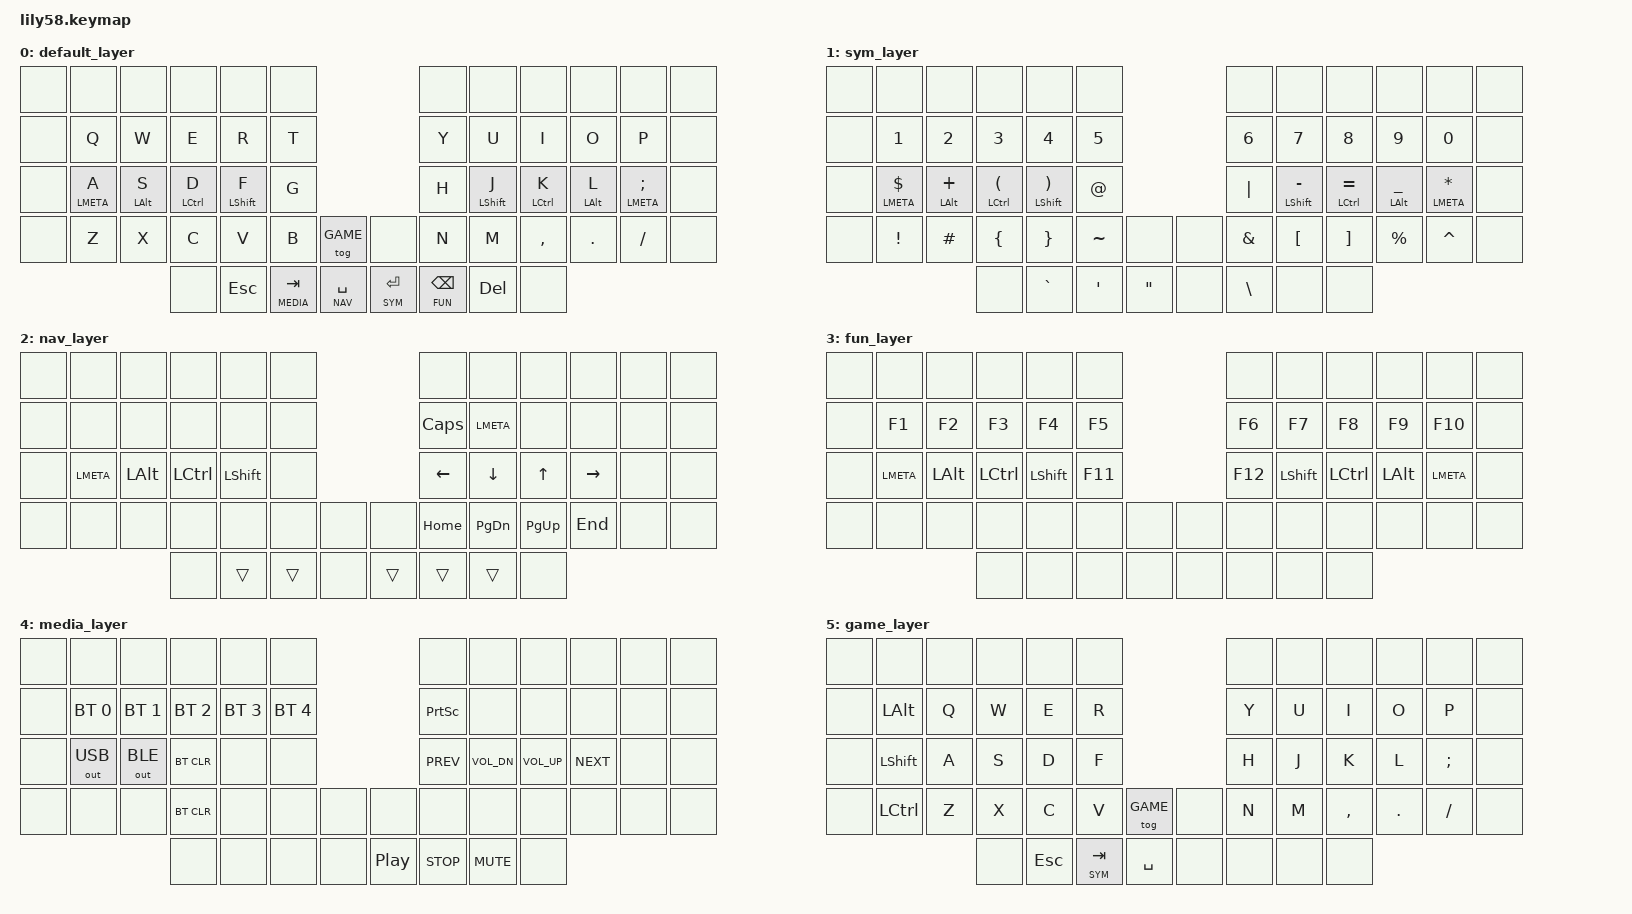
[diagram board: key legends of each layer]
/*
 * Copyright (c) 2020 The ZMK Contributors
 *
 * SPDX-License-Identifier: MIT
 */

#include <behaviors.dtsi>
#include <dt-bindings/zmk/keys.h>
#include <dt-bindings/zmk/bt.h>
#include <dt-bindings/zmk/ext_power.h>
#include <dt-bindings/zmk/outputs.h>

#define DEFAULT 0
#define SYM 1
#define NAV 2
#define FUN 3
#define MEDIA 4
#define GAME 5

&lt {
    flavor = "balanced";
    quick-tap-ms = <100>;
    tapping-term-ms = <200>;
    retro-tap;
};

/ {
    behaviors {
        hml: homerow_mods_long {
            compatible = "zmk,behavior-hold-tap";
            label = "HOMEROW_MODS";
            #binding-cells = <2>;
            tapping-term-ms = <300>;
            quick-tap-ms = <0>;
            flavor = "tap-preferred";
            bindings = <&kp>, <&kp>;
        };
        hms: homerow_mods_short {
            compatible = "zmk,behavior-hold-tap";
            label = "HOMEROW_MODS";
            #binding-cells = <2>;
            tapping-term-ms = <100>;
            quick-tap-ms = <0>;
            flavor = "tap-preferred";
            bindings = <&kp>, <&kp>;
        };
        hm: homerow_mods {
            compatible = "zmk,behavior-hold-tap";
            label = "HOMEROW_MODS";
            #binding-cells = <2>;
            tapping-term-ms = <150>;
            quick-tap-ms = <0>;
            flavor = "tap-preferred";
            bindings = <&kp>, <&kp>;
        };
    };
    combos {
        compatible = "zmk,combos";
        combo_t {
            timeout-ms = <50>;
            key-positions = <16 17>;
            bindings = <&kp T>;
            layers = <GAME>;
        };
        combo_g {
            timeout-ms = <50>;
            key-positions = <28 29>;
            bindings = <&kp G>;
            layers = <GAME>;
        };
        combo_b {
            timeout-ms = <50>;
            key-positions = <40 41>;
            bindings = <&kp B>;
            layers = <GAME>;
        };
    };
    keymap {
        compatible = "zmk,keymap";
        default_layer {
            bindings = <
&none                &none              &none               &none               &none               &none                                                       &none               &none               &none               &none               &none               &none
&none                &kp Q              &kp W               &kp E               &kp R               &kp T                                                       &kp Y               &kp U               &kp I               &kp O               &kp P               &none
&none                &hml LMETA A       &hm LALT S          &hm LCTRL D         &hms LSHFT F        &kp G                                                       &kp H               &hm LSHFT J         &hm LCTRL K         &hm LALT L          &hm LMETA SEMI      &none
&none                &kp Z              &kp X               &kp C               &kp V               &kp B               &tog GAME           &none               &kp N               &kp M               &kp COMMA           &kp DOT             &kp FSLH            &none
                                                            &none               &kp ESC             &lt MEDIA TAB       &lt NAV SPACE       &lt SYM RET         &lt FUN BSPC        &kp DEL             &none
            >;
        };
        sym_layer {
            bindings = <
&none               &none               &none               &none               &none               &none                                                       &none               &none               &none               &none               &none               &none
&none               &kp N1              &kp N2              &kp N3              &kp N4              &kp N5                                                      &kp N6              &kp N7              &kp N8              &kp N9              &kp N0              &none
&none               &hml LMETA DOLLAR   &hm LALT PLUS       &hm LCTRL LPAR      &hms LSHFT RPAR     &kp AT                                                      &kp PIPE            &hm LSHFT MINUS     &hm LCTRL EQUAL     &hm LALT UNDER      &hm LMETA STAR      &none
&none               &kp EXCL            &kp HASH            &kp LBRC            &kp RBRC            &kp TILDE           &none               &none               &kp AMPS            &kp LBKT            &kp RBKT            &kp PRCNT           &kp CARET           &none
                                                            &none               &kp GRAVE           &kp SQT             &kp DQT             &none               &kp BSLH               &none               &none
            >;
    	};
        nav_layer {
            bindings = <
&none               &none               &none               &none               &none               &none                                                       &none               &none               &none               &none               &none               &none
&none               &none               &none               &none               &none               &none                                                       &kp CAPS            &kp LMETA           &none               &none               &none               &none
&none               &kp LMETA           &kp LALT            &kp LCTRL           &kp LSHFT           &none                                                       &kp LEFT            &kp DOWN            &kp UP              &kp RIGHT           &none               &none
&none               &none               &none               &none               &none               &none               &none               &none               &kp HOME            &kp PG_DN           &kp PG_UP           &kp END             &none               &none
                                                            &none               &trans              &trans              &none               &trans              &trans              &trans              &none
            >;
    	};
        fun_layer {
            bindings = <
&none               &none               &none               &none               &none               &none                                                       &none               &none               &none               &none               &none               &none
&none               &kp F1              &kp F2              &kp F3              &kp F4              &kp F5                                                      &kp F6              &kp F7              &kp F8              &kp F9              &kp F10             &none
&none               &kp LMETA           &kp LALT            &kp LCTRL           &kp LSHFT           &kp F11                                                     &kp F12             &kp LSHFT           &kp LCTRL           &kp LALT            &kp LMETA           &none
&none               &none               &none               &none               &none               &none               &none               &none               &none               &none               &none               &none               &none               &none
                                                            &none               &none               &none               &none               &none               &none               &none               &none
            >;
        };
        media_layer {
            bindings = <
&none               &none               &none               &none               &none               &none                                                       &none               &none               &none               &none               &none               &none
&none               &bt BT_SEL 0        &bt BT_SEL 1        &bt BT_SEL 2        &bt BT_SEL 3        &bt BT_SEL 4                                                &kp PSCRN           &none               &none               &none               &none               &none
&none               &out OUT_USB        &out OUT_BLE        &bt BT_CLR          &none               &none                                                       &kp C_PREV          &kp C_VOL_DN        &kp C_VOL_UP        &kp C_NEXT          &none               &none
&none               &none               &none               &bt BT_CLR          &none               &none               &none               &none               &none               &none               &none               &none               &none               &none
                                                            &none               &none               &none               &none               &kp C_PP            &kp C_STOP          &kp C_MUTE          &none
            >;
        };
        game_layer {
            bindings = <
&none               &none               &none               &none               &none               &none                                                       &none               &none               &none               &none               &none               &none
&none               &kp LALT            &kp Q               &kp W               &kp E               &kp R                                                       &kp Y               &kp U               &kp I               &kp O               &kp P               &none
&none               &kp LSHFT           &kp A               &kp S               &kp D               &kp F                                                       &kp H               &kp J               &kp K               &kp L               &kp SEMI            &none
&none               &kp LCTRL           &kp Z               &kp X               &kp C               &kp V               &tog GAME           &none               &kp N               &kp M               &kp COMMA           &kp DOT             &kp FSLH            &none
                                                            &none               &kp ESC             &lt SYM TAB         &kp SPACE           &none               &none               &none               &none
            >;
        };
    };
};

//&none               &none               &none               &none               &none               &none                                                       &none               &none               &none               &none               &none               &none
//&none               &none               &none               &none               &none               &none                                                       &none               &none               &none               &none               &none               &none
//&none               &none               &none               &none               &none               &none                                                       &none               &none               &none               &none               &none               &none
//&none               &none               &none               &none               &none               &none               &none               &none               &none               &none               &none               &none               &none               &none
//                                                            &none               &none               &none               &none               &none               &none               &none               &none
